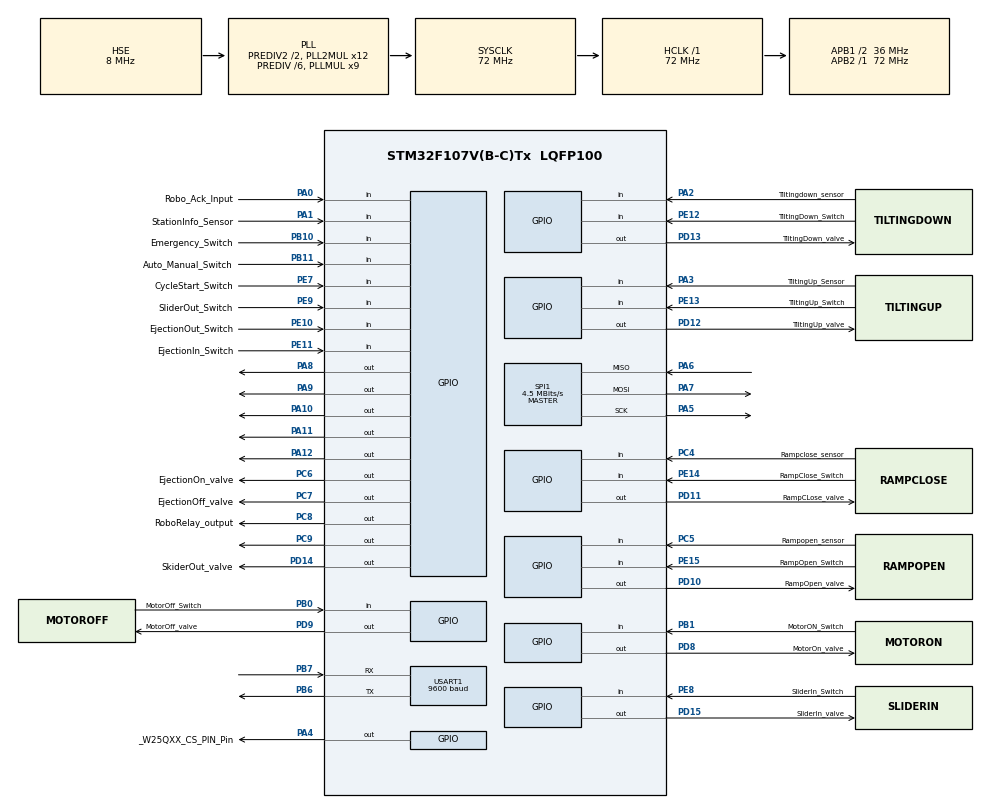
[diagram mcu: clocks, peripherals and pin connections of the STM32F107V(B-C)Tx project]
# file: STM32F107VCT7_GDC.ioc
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Mcu.Family=STM32F1
Mcu.Name=STM32F107V(B-C)Tx
Mcu.Package=LQFP100
NVIC.PriorityGroup=NVIC_PRIORITYGROUP_4
NVIC.TIM2_IRQn=true\:0\:0\:false\:false\:true\:true\:true\:true
NVIC.TIM3_IRQn=true\:0\:0\:false\:false\:true\:true\:true\:true
NVIC.USART1_IRQn=true\:0\:0\:false\:false\:true\:true\:true\:true
OSC_IN.Mode=HSE-External-Oscillator
OSC_IN.Signal=RCC_OSC_IN
OSC_OUT.Mode=HSE-External-Oscillator
OSC_OUT.Signal=RCC_OSC_OUT
PA0-WKUP.GPIO_Label=Robo_Ack_Input
PA0-WKUP.Signal=GPIO_Input
PA1.GPIO_Label=StationInfo_Sensor
PA1.Signal=GPIO_Input
PA10.Signal=GPIO_Output
PA11.Signal=GPIO_Output
PA12.Signal=GPIO_Output
PA13.Mode=JTAG_5_pins
PA13.Signal=SYS_JTMS-SWDIO
PA14.Mode=JTAG_5_pins
PA14.Signal=SYS_JTCK-SWCLK
PA15.Mode=JTAG_5_pins
PA15.Signal=SYS_JTDI
PA2.GPIO_Label=Tiltingdown_sensor
PA2.Signal=GPIO_Input
PA3.GPIO_Label=TiltingUp_Sensor
PA3.Signal=GPIO_Input
PA4.GPIO_Label=_W25QXX_CS_PIN_Pin
PA4.Signal=GPIO_Output
PA5.Mode=Full_Duplex_Master
PA5.Signal=SPI1_SCK
PA6.Mode=Full_Duplex_Master
PA6.Signal=SPI1_MISO
PA7.Mode=Full_Duplex_Master
PA7.Signal=SPI1_MOSI
PA8.Signal=GPIO_Output
PA9.Signal=GPIO_Output
PB0.GPIO_Label=MotorOff_Switch
PB0.Signal=GPIO_Input
PB1.GPIO_Label=MotorON_Switch
PB1.Signal=GPIO_Input
PB10.GPIO_Label=Emergency_Switch
PB10.Signal=GPIO_Input
PB11.GPIO_Label=Auto_Manual_Switch
PB11.Signal=GPIO_Input
PB3.Mode=JTAG_5_pins
PB3.Signal=SYS_JTDO
PB4.Mode=JTAG_5_pins
PB4.Signal=SYS_NJTRST
PB6.Mode=Asynchronous
PB6.Signal=USART1_TX
PB7.Mode=Asynchronous
PB7.Signal=USART1_RX
PC4.GPIO_Label=Rampclose_sensor
PC4.Signal=GPIO_Input
PC5.GPIO_Label=Rampopen_sensor
PC5.Signal=GPIO_Input
PC6.GPIO_Label=EjectionOn_valve
PC6.Signal=GPIO_Output
PC7.GPIO_Label=EjectionOff_valve
PC7.Signal=GPIO_Output
PC8.GPIO_Label=RoboRelay_output
PC8.Signal=GPIO_Output
PC9.Signal=GPIO_Output
PD10.GPIO_Label=RampOpen_valve
PD10.Signal=GPIO_Output
PD11.GPIO_Label=RampCLose_valve
PD11.Signal=GPIO_Output
PD12.GPIO_Label=TiltingUp_valve
PD12.Signal=GPIO_Output
PD13.GPIO_Label=TiltingDown_valve
PD13.Signal=GPIO_Output
PD14.GPIO_Label=SkiderOut_valve
PD14.Signal=GPIO_Output
PD15.GPIO_Label=SliderIn_valve
PD15.Signal=GPIO_Output
PD5.GPIO_Label=UART_485_Tx_2
PD5.Signal=USART2_TX
PD6.GPIO_Label=USART_Rx_485_2
PD6.Signal=USART2_RX
PD8.GPIO_Label=MotorOn_valve
PD8.Signal=GPIO_Output
PD9.GPIO_Label=MotorOff_valve
PD9.Signal=GPIO_Output
PE10.GPIO_Label=EjectionOut_Switch
PE10.Signal=GPIO_Input
PE11.GPIO_Label=EjectionIn_Switch
PE11.Signal=GPIO_Input
PE12.GPIO_Label=TiltingDown_Switch
PE12.Signal=GPIO_Input
PE13.GPIO_Label=TiltingUp_Switch
PE13.Signal=GPIO_Input
PE14.GPIO_Label=RampClose_Switch
PE14.Signal=GPIO_Input
PE15.GPIO_Label=RampOpen_Switch
PE15.Signal=GPIO_Input
PE7.GPIO_Label=CycleStart_Switch
PE7.Signal=GPIO_Input
PE8.GPIO_Label=SliderIn_Switch
PE8.Signal=GPIO_Input
PE9.GPIO_Label=SliderOut_Switch
PE9.Signal=GPIO_Input
ProjectManager.HeapSize=0x200
ProjectManager.StackSize=0x400
ProjectManager.TargetToolchain=STM32CubeIDE
RCC.AHBFreq_Value=72000000
RCC.APB1CLKDivider=RCC_HCLK_DIV2
RCC.APB1Freq_Value=36000000
RCC.APB1TimFreq_Value=72000000
RCC.APB2Freq_Value=72000000
RCC.APB2TimFreq_Value=72000000
RCC.HCLKFreq_Value=72000000
RCC.HSEDivPLL=RCC_HSE_PREDIV_DIV6
RCC.PLL2Mul=RCC_PLL2_MUL12
RCC.PLLMUL=RCC_PLL_MUL9
RCC.PLLSourceVirtual=RCC_PLLSOURCE_HSE
RCC.Prediv1Source=RCC_PREDIV1_SOURCE_PLL2
RCC.Prediv2=RCC_HSE_PREDIV2_DIV2
RCC.SYSCLKFreq_VALUE=72000000
RCC.SYSCLKSource=RCC_SYSCLKSOURCE_PLLCLK
RCC.USBFreq_Value=48000000
SPI1.BaudRatePrescaler=SPI_BAUDRATEPRESCALER_16
SPI1.CalculateBaudRate=4.5 MBits/s
SPI1.Direction=SPI_DIRECTION_2LINES
SPI1.Mode=SPI_MODE_MASTER
SPI1.VirtualType=VM_MASTER
TIM2.Period=10
TIM2.Prescaler=7200-1
TIM3.Period=1000
TIM3.Prescaler=7200-1
USART1.BaudRate=9600
USART1.VirtualMode=VM_ASYNC
VP_TIM2_VS_ClockSourceINT.Mode=Internal
VP_TIM3_VS_ClockSourceINT.Mode=Internal
board=custom

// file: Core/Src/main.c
/* USER CODE BEGIN Header */
/**
  ******************************************************************************
  * @file           : main.c
  * @brief          : Main program body
  ******************************************************************************
  * @attention
  *
  * Copyright (c) 2023 STMicroelectronics.
  * All rights reserved.
  *
  * This software is licensed under terms that can be found in the LICENSE file
  * in the root directory of this software component.
  * If no LICENSE file comes with this software, it is provided AS-IS.
  *
  ******************************************************************************
  */
/* USER CODE END Header */
#include "main.h"

/* USER CODE BEGIN Includes */
#include "TimerInt.h"
#include "flashmemory.h"

#include "uart_communication_app.h"
#include "ace_businesslogic.h"
/* USER CODE END Includes */

SPI_HandleTypeDef hspi1;

TIM_HandleTypeDef htim2;
TIM_HandleTypeDef htim3;

UART_HandleTypeDef huart1;

void SystemClock_Config(void);
static void MX_GPIO_Init(void);
static void MX_TIM2_Init(void);
static void MX_TIM3_Init(void);
static void MX_SPI1_Init(void);
static void MX_USART1_UART_Init(void);

/* USER CODE BEGIN 0 */

uint8_t serial_1_buff[2];

/* USER CODE END 0 */

int main(void)
{

  /* MCU Configuration--------------------------------------------------------*/

  /* Reset of all peripherals, Initializes the Flash interface and the Systick. */
  HAL_Init();

  /* USER CODE BEGIN Init */
  /* USER CODE END WHILE */

  /* USER CODE END Init */

  /* Configure the system clock */
  SystemClock_Config();

  /* Initialize all configured peripherals */
  MX_GPIO_Init();
  MX_TIM2_Init();
  MX_TIM3_Init();
  MX_SPI1_Init();
  MX_USART1_UART_Init();
  /* USER CODE BEGIN 2 */
  TimerApplicationInit();

  ModbusInit();
  flashmemoryinit();
 // HAL_UART_Receive_IT(&huart1,serial_1_buff, 1);

  InputOutputTest();
  /* USER CODE END 2 */

  /* Infinite loop */
  while (1)
  {

    /* USER CODE BEGIN 3 */
	  if(Flag5msTM2)
	  {
		  Flag5msTM2=0;
		  gdc_businesslogic();
	  }
	  if(Flag500ms)
	  {
		  Flag500ms=0;
		  ModbusFrame();
		  Dwin_Rx_Decoder();
		  flashmemoryroutine();

	  }
  }
  /* USER CODE END 3 */
}

void SystemClock_Config(void)
{
  RCC_OscInitTypeDef RCC_OscInitStruct = {0};
  RCC_ClkInitTypeDef RCC_ClkInitStruct = {0};

  /** Initializes the RCC Oscillators according to the specified parameters
  * in the RCC_OscInitTypeDef structure.
  */
  RCC_OscInitStruct.OscillatorType = RCC_OSCILLATORTYPE_HSE;
  RCC_OscInitStruct.HSEState = RCC_HSE_ON;
  RCC_OscInitStruct.HSEPredivValue = RCC_HSE_PREDIV_DIV6;
  RCC_OscInitStruct.HSIState = RCC_HSI_ON;
  RCC_OscInitStruct.Prediv1Source = RCC_PREDIV1_SOURCE_PLL2;
  RCC_OscInitStruct.PLL.PLLState = RCC_PLL_ON;
  RCC_OscInitStruct.PLL.PLLSource = RCC_PLLSOURCE_HSE;
  RCC_OscInitStruct.PLL.PLLMUL = RCC_PLL_MUL9;
  RCC_OscInitStruct.PLL2.PLL2State = RCC_PLL2_ON;
  RCC_OscInitStruct.PLL2.PLL2MUL = RCC_PLL2_MUL12;
  RCC_OscInitStruct.PLL2.HSEPrediv2Value = RCC_HSE_PREDIV2_DIV2;
  if (HAL_RCC_OscConfig(&RCC_OscInitStruct) != HAL_OK)
  {
    Error_Handler();
  }

  /** Initializes the CPU, AHB and APB buses clocks
  */
  RCC_ClkInitStruct.ClockType = RCC_CLOCKTYPE_HCLK|RCC_CLOCKTYPE_SYSCLK
                              |RCC_CLOCKTYPE_PCLK1|RCC_CLOCKTYPE_PCLK2;
  RCC_ClkInitStruct.SYSCLKSource = RCC_SYSCLKSOURCE_PLLCLK;
  RCC_ClkInitStruct.AHBCLKDivider = RCC_SYSCLK_DIV1;
  RCC_ClkInitStruct.APB1CLKDivider = RCC_HCLK_DIV2;
  RCC_ClkInitStruct.APB2CLKDivider = RCC_HCLK_DIV1;

  if (HAL_RCC_ClockConfig(&RCC_ClkInitStruct, FLASH_LATENCY_2) != HAL_OK)
  {
    Error_Handler();
  }

  /** Configure the Systick interrupt time
  */
  __HAL_RCC_PLLI2S_ENABLE();
}

static void MX_SPI1_Init(void)
{

  /* SPI1 parameter configuration*/
  hspi1.Instance = SPI1;
  hspi1.Init.Mode = SPI_MODE_MASTER;
  hspi1.Init.Direction = SPI_DIRECTION_2LINES;
  hspi1.Init.DataSize = SPI_DATASIZE_8BIT;
  hspi1.Init.CLKPolarity = SPI_POLARITY_LOW;
  hspi1.Init.CLKPhase = SPI_PHASE_1EDGE;
  hspi1.Init.NSS = SPI_NSS_SOFT;
  hspi1.Init.BaudRatePrescaler = SPI_BAUDRATEPRESCALER_16;
  hspi1.Init.FirstBit = SPI_FIRSTBIT_MSB;
  hspi1.Init.TIMode = SPI_TIMODE_DISABLE;
  hspi1.Init.CRCCalculation = SPI_CRCCALCULATION_DISABLE;
  hspi1.Init.CRCPolynomial = 10;
  if (HAL_SPI_Init(&hspi1) != HAL_OK)
  {
    Error_Handler();
  }

}

static void MX_TIM2_Init(void)
{

  TIM_ClockConfigTypeDef sClockSourceConfig = {0};
  TIM_MasterConfigTypeDef sMasterConfig = {0};

  htim2.Instance = TIM2;
  htim2.Init.Prescaler = 7200-1;
  htim2.Init.CounterMode = TIM_COUNTERMODE_UP;
  htim2.Init.Period = 10;
  htim2.Init.ClockDivision = TIM_CLOCKDIVISION_DIV1;
  htim2.Init.AutoReloadPreload = TIM_AUTORELOAD_PRELOAD_DISABLE;
  if (HAL_TIM_Base_Init(&htim2) != HAL_OK)
  {
    Error_Handler();
  }
  sClockSourceConfig.ClockSource = TIM_CLOCKSOURCE_INTERNAL;
  if (HAL_TIM_ConfigClockSource(&htim2, &sClockSourceConfig) != HAL_OK)
  {
    Error_Handler();
  }
  sMasterConfig.MasterOutputTrigger = TIM_TRGO_RESET;
  sMasterConfig.MasterSlaveMode = TIM_MASTERSLAVEMODE_DISABLE;
  if (HAL_TIMEx_MasterConfigSynchronization(&htim2, &sMasterConfig) != HAL_OK)
  {
    Error_Handler();
  }

}

static void MX_TIM3_Init(void)
{

  TIM_ClockConfigTypeDef sClockSourceConfig = {0};
  TIM_MasterConfigTypeDef sMasterConfig = {0};

  htim3.Instance = TIM3;
  htim3.Init.Prescaler = 7200-1;
  htim3.Init.CounterMode = TIM_COUNTERMODE_UP;
  htim3.Init.Period = 1000;
  htim3.Init.ClockDivision = TIM_CLOCKDIVISION_DIV1;
  htim3.Init.AutoReloadPreload = TIM_AUTORELOAD_PRELOAD_DISABLE;
  if (HAL_TIM_Base_Init(&htim3) != HAL_OK)
  {
    Error_Handler();
  }
  sClockSourceConfig.ClockSource = TIM_CLOCKSOURCE_INTERNAL;
  if (HAL_TIM_ConfigClockSource(&htim3, &sClockSourceConfig) != HAL_OK)
  {
    Error_Handler();
  }
  sMasterConfig.MasterOutputTrigger = TIM_TRGO_RESET;
  sMasterConfig.MasterSlaveMode = TIM_MASTERSLAVEMODE_DISABLE;
  if (HAL_TIMEx_MasterConfigSynchronization(&htim3, &sMasterConfig) != HAL_OK)
  {
    Error_Handler();
  }

}

static void MX_USART1_UART_Init(void)
{

  huart1.Instance = USART1;
  huart1.Init.BaudRate = 9600;
  huart1.Init.WordLength = UART_WORDLENGTH_8B;
  huart1.Init.StopBits = UART_STOPBITS_1;
  huart1.Init.Parity = UART_PARITY_NONE;
  huart1.Init.Mode = UART_MODE_TX_RX;
  huart1.Init.HwFlowCtl = UART_HWCONTROL_NONE;
  huart1.Init.OverSampling = UART_OVERSAMPLING_16;
  if (HAL_UART_Init(&huart1) != HAL_OK)
  {
    Error_Handler();
  }

}

static void MX_GPIO_Init(void)
{
  GPIO_InitTypeDef GPIO_InitStruct = {0};

  /* GPIO Ports Clock Enable */
  __HAL_RCC_GPIOA_CLK_ENABLE();
  __HAL_RCC_GPIOC_CLK_ENABLE();
  __HAL_RCC_GPIOB_CLK_ENABLE();
  __HAL_RCC_GPIOE_CLK_ENABLE();
  __HAL_RCC_GPIOD_CLK_ENABLE();

  /*Configure GPIO pin Output Level */
  HAL_GPIO_WritePin(GPIOA, _W25QXX_CS_PIN_Pin_Pin|GPIO_PIN_8|GPIO_PIN_9|GPIO_PIN_10
                          |GPIO_PIN_11|GPIO_PIN_12, GPIO_PIN_RESET);

  /*Configure GPIO pin Output Level */
  HAL_GPIO_WritePin(GPIOD, MotorOn_valve_Pin|MotorOff_valve_Pin|RampOpen_valve_Pin|RampCLose_valve_Pin
                          |TiltingUp_valve_Pin|TiltingDown_valve_Pin|SkiderOut_valve_Pin|SliderIn_valve_Pin, GPIO_PIN_RESET);

  /*Configure GPIO pin Output Level */
  HAL_GPIO_WritePin(GPIOC, EjectionOn_valve_Pin|EjectionOff_valve_Pin|RoboRelay_output_Pin|GPIO_PIN_9, GPIO_PIN_RESET);

  /*Configure GPIO pins : Robo_Ack_Input_Pin StationInfo_Sensor_Pin Tiltingdown_sensor_Pin TiltingUp_Sensor_Pin */
  GPIO_InitStruct.Pin = Robo_Ack_Input_Pin|StationInfo_Sensor_Pin|Tiltingdown_sensor_Pin|TiltingUp_Sensor_Pin;
  GPIO_InitStruct.Mode = GPIO_MODE_INPUT;
  GPIO_InitStruct.Pull = GPIO_NOPULL;
  HAL_GPIO_Init(GPIOA, &GPIO_InitStruct);

  /*Configure GPIO pins : _W25QXX_CS_PIN_Pin_Pin PA8 PA9 PA10
                           PA11 PA12 */
  GPIO_InitStruct.Pin = _W25QXX_CS_PIN_Pin_Pin|GPIO_PIN_8|GPIO_PIN_9|GPIO_PIN_10
                          |GPIO_PIN_11|GPIO_PIN_12;
  GPIO_InitStruct.Mode = GPIO_MODE_OUTPUT_PP;
  GPIO_InitStruct.Pull = GPIO_NOPULL;
  GPIO_InitStruct.Speed = GPIO_SPEED_FREQ_LOW;
  HAL_GPIO_Init(GPIOA, &GPIO_InitStruct);

  /*Configure GPIO pins : Rampclose_sensor_Pin Rampopen_sensor_Pin */
  GPIO_InitStruct.Pin = Rampclose_sensor_Pin|Rampopen_sensor_Pin;
  GPIO_InitStruct.Mode = GPIO_MODE_INPUT;
  GPIO_InitStruct.Pull = GPIO_NOPULL;
  HAL_GPIO_Init(GPIOC, &GPIO_InitStruct);

  /*Configure GPIO pins : MotorOff_Switch_Pin MotorON_Switch_Pin Emergency_Switch_Pin Auto_Manual_Switch_Pin */
  GPIO_InitStruct.Pin = MotorOff_Switch_Pin|MotorON_Switch_Pin|Emergency_Switch_Pin|Auto_Manual_Switch_Pin;
  GPIO_InitStruct.Mode = GPIO_MODE_INPUT;
  GPIO_InitStruct.Pull = GPIO_NOPULL;
  HAL_GPIO_Init(GPIOB, &GPIO_InitStruct);

  /*Configure GPIO pins : CycleStart_Switch_Pin SliderIn_Switch_Pin SliderOut_Switch_Pin EjectionOut_Switch_Pin
                           EjectionIn_Switch_Pin TiltingDown_Switch_Pin TiltingUp_Switch_Pin RampClose_Switch_Pin
                           RampOpen_Switch_Pin */
  GPIO_InitStruct.Pin = CycleStart_Switch_Pin|SliderIn_Switch_Pin|SliderOut_Switch_Pin|EjectionOut_Switch_Pin
                          |EjectionIn_Switch_Pin|TiltingDown_Switch_Pin|TiltingUp_Switch_Pin|RampClose_Switch_Pin
                          |RampOpen_Switch_Pin;
  GPIO_InitStruct.Mode = GPIO_MODE_INPUT;
  GPIO_InitStruct.Pull = GPIO_NOPULL;
  HAL_GPIO_Init(GPIOE, &GPIO_InitStruct);

  /*Configure GPIO pins : MotorOn_valve_Pin MotorOff_valve_Pin RampOpen_valve_Pin RampCLose_valve_Pin
                           TiltingUp_valve_Pin TiltingDown_valve_Pin SkiderOut_valve_Pin SliderIn_valve_Pin */
  GPIO_InitStruct.Pin = MotorOn_valve_Pin|MotorOff_valve_Pin|RampOpen_valve_Pin|RampCLose_valve_Pin
                          |TiltingUp_valve_Pin|TiltingDown_valve_Pin|SkiderOut_valve_Pin|SliderIn_valve_Pin;
  GPIO_InitStruct.Mode = GPIO_MODE_OUTPUT_PP;
  GPIO_InitStruct.Pull = GPIO_NOPULL;
  GPIO_InitStruct.Speed = GPIO_SPEED_FREQ_LOW;
  HAL_GPIO_Init(GPIOD, &GPIO_InitStruct);

  /*Configure GPIO pins : EjectionOn_valve_Pin EjectionOff_valve_Pin RoboRelay_output_Pin PC9 */
  GPIO_InitStruct.Pin = EjectionOn_valve_Pin|EjectionOff_valve_Pin|RoboRelay_output_Pin|GPIO_PIN_9;
  GPIO_InitStruct.Mode = GPIO_MODE_OUTPUT_PP;
  GPIO_InitStruct.Pull = GPIO_NOPULL;
  GPIO_InitStruct.Speed = GPIO_SPEED_FREQ_LOW;
  HAL_GPIO_Init(GPIOC, &GPIO_InitStruct);

  /*Configure GPIO pin : UART_485_Tx_2_Pin */
  GPIO_InitStruct.Pin = UART_485_Tx_2_Pin;
  GPIO_InitStruct.Mode = GPIO_MODE_AF_PP;
  GPIO_InitStruct.Speed = GPIO_SPEED_FREQ_HIGH;
  HAL_GPIO_Init(UART_485_Tx_2_GPIO_Port, &GPIO_InitStruct);

  /*Configure GPIO pin : USART_Rx_485_2_Pin */
  GPIO_InitStruct.Pin = USART_Rx_485_2_Pin;
  GPIO_InitStruct.Mode = GPIO_MODE_INPUT;
  GPIO_InitStruct.Pull = GPIO_NOPULL;
  HAL_GPIO_Init(USART_Rx_485_2_GPIO_Port, &GPIO_InitStruct);

  /*Configure peripheral I/O remapping */
  __HAL_AFIO_REMAP_USART2_ENABLE();

}

void Error_Handler(void)
{
  __disable_irq();
  while (1)
  {
  }
}
